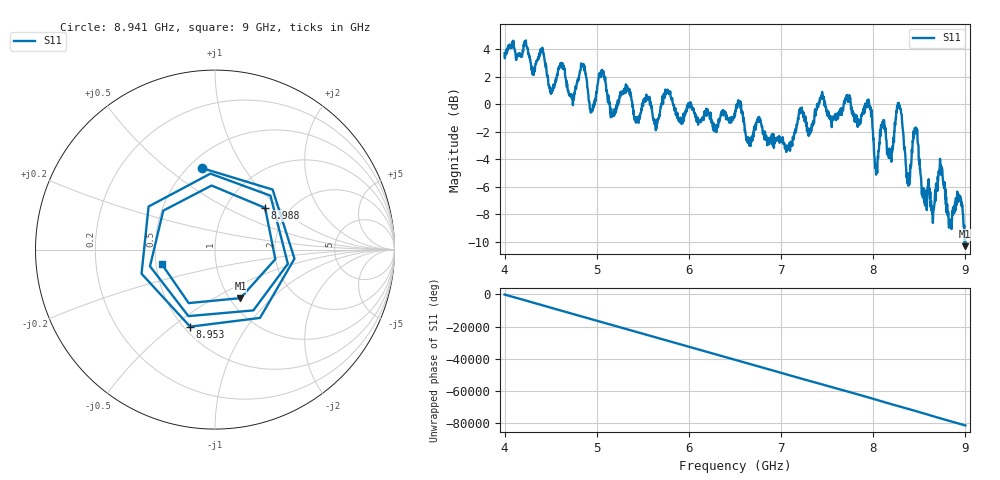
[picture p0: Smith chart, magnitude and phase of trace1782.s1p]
! Created with skrf 1.8.0 (http://scikit-rf.org).
# Hz S RI R 50.0
!freq ReS11 ImS11
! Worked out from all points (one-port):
!   1601 points, 4 GHz to 9 GHz, reference 50 ohm
!   lowest |S11| = -10.3 dB at 8.994 GHz (marker M1), VSWR 1.88, Z = 56 - j33.4 ohm
!   |S11| at or under -10 dB: 8.993025 GHz to 8.995251 GHz (2.226 MHz wide, 0.0247 % of centre); 8.998874 GHz to end of sweep
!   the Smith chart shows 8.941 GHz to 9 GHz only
!   S11 on the Smith chart (normalised r, x): 8.941 GHz: 0.58, +0.67; 8.953 GHz: 0.54, -0.58; 8.988 GHz: 1.51, +0.81; 9 GHz: 0.54, -0.10
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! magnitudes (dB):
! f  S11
! 4 GHz  3.7
! 4.406 GHz  4.1
! 4.5 GHz  1.0
! 4.625 GHz  2.8
! 4.728 GHz  0.4
! 4.853 GHz  2.7
! 4.947 GHz  -0.4
! 5.05 GHz  2.4
! 5.162 GHz  -0.6
! 5.25 GHz  0.6
! 5.875 GHz  -0.6
! 6.5 GHz  -0.8
! 7.125 GHz  -2.5
! 7.75 GHz  0.5
! 7.959 GHz  -0.2
! 8.034 GHz  -4.7
! 8.191 GHz  -3.5
! 8.284 GHz  -0.1
! 8.375 GHz  -5.0
! 8.459 GHz  -1.8
! 8.559 GHz  -6.8
! 8.731 GHz  -4.4
! 8.831 GHz  -8.5
! 8.941 GHz  -6.7
! 8.953 GHz  -6.9
! 8.988 GHz  -8.8
! 8.994 GHz  -10.3
! 9 GHz  -10.3
